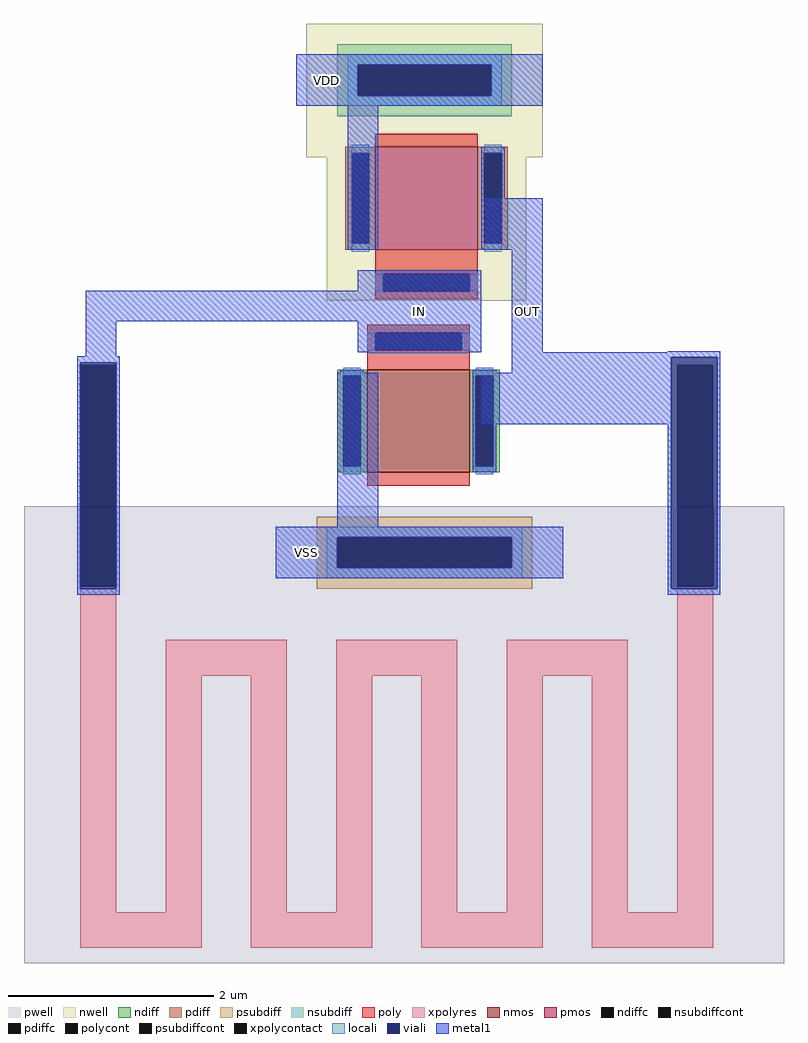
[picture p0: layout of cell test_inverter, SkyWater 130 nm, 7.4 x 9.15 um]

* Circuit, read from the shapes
.subckt test_inverter IN OUT VSS VDD
XM1 OUT IN VSS VSS sky130_fd_pr__nfet_01v8 w=1 l=1
XM2 OUT IN VDD VDD sky130_fd_pr__pfet_01v8 w=1 l=1
XR3 IN OUT VSS sky130_fd_pr__res_xhigh_po w=0.35 l=28.4
.ends

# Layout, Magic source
magic
tech sky130A
magscale 1 2
<< nwell >>
rect -80 -560 380 -380
rect -80 -580 -20 -560
rect 320 -580 380 -560
rect -80 -640 380 -580
<< pwell >>
rect -630 -2210 850 -1320
<< psubdiff >>
rect -60 -1380 360 -1340
rect -60 -1440 -20 -1380
rect 320 -1440 360 -1380
rect -60 -1480 360 -1440
<< nsubdiff >>
rect -20 -460 320 -420
rect -20 -520 20 -460
rect 280 -520 320 -460
rect -20 -560 320 -520
<< psubdiffcont >>
rect -20 -1440 320 -1380
<< nsubdiffcont >>
rect 20 -520 280 -460
<< locali >>
rect 0 -460 300 -440
rect 0 -520 20 -460
rect 280 -520 300 -460
rect 0 -540 300 -520
rect -40 -1380 340 -1360
rect -40 -1440 -20 -1380
rect 320 -1440 340 -1380
rect -40 -1460 340 -1440
<< viali >>
rect 20 -520 280 -460
rect -520 -1480 -450 -1040
rect -20 -1440 320 -1380
rect 630 -1480 720 -1030
<< metal1 >>
rect -100 -460 380 -440
rect -100 -520 20 -460
rect 280 -520 380 -460
rect -100 -540 380 -520
rect 0 -820 60 -540
rect 260 -820 380 -720
rect 20 -900 260 -860
rect -510 -960 260 -900
rect -510 -1028 -450 -960
rect 20 -1020 260 -960
rect 320 -1020 380 -820
rect 624 -1020 726 -1018
rect -526 -1040 -444 -1028
rect -526 -1480 -520 -1040
rect -450 -1480 -444 -1040
rect 320 -1030 726 -1020
rect 320 -1060 630 -1030
rect -20 -1360 60 -1060
rect 260 -1160 630 -1060
rect -140 -1380 420 -1360
rect -140 -1440 -20 -1380
rect 320 -1440 420 -1380
rect -140 -1460 420 -1440
rect -526 -1492 -444 -1480
rect 624 -1480 630 -1160
rect 720 -1480 726 -1030
rect 624 -1492 726 -1480
use sky130_fd_pr__nfet_01v8_QFRGQ5  sky130_fd_pr__nfet_01v8_QFRGQ5_0
transform 1 0 138 0 1 -1123
box -158 -157 158 157
use sky130_fd_pr__pfet_01v8_M2ZTWU  sky130_fd_pr__pfet_01v8_M2ZTWU_0
transform 1 0 154 0 1 -756
box -194 -164 194 198
use sky130_fd_pr__res_xhigh_po_0p35_MC8RW6  sky130_fd_pr__res_xhigh_po_0p35_MC8RW6_0
transform -1 0 96 0 -1 -1612
box -616 -568 616 568
<< labels >>
flabel metal1 -140 -1460 -20 -1360 0 FreeSans 160 0 0 0 VSS
port 3 nsew
flabel metal1 320 -1160 380 -720 0 FreeSans 160 0 0 0 OUT
port 2 nsew
flabel metal1 -100 -540 20 -440 0 FreeSans 160 0 0 0 VDD
port 4 nsew
flabel metal1 20 -1020 260 -860 0 FreeSans 160 0 0 0 IN
port 1 nsew
<< end >>

# cell sky130_fd_pr__nfet_01v8_QFRGQ5: kit device sky130_fd_pr__nfet_01v8, w 1 l 1 m 1 nf 1 diffcov 100 polycov 100 guard 0 glc 0 grc 0 gtc 0 gbc 0 tbcov 100 rlcov 100 topc 1 botc 0 poverlap 0 doverlap 0 lmin 0.15 wmin 0.42 compatible {sky130_fd_pr__nfet_01v8 sky130_fd_pr__nfet_01v8_lvt sky130_fd_bs_flash__special_sonosfet_star sky130_fd_pr__nfet_g5v0d10v5 sky130_fd_pr__nfet_05v0_nvt sky130_fd_pr__nfet_03v3_nvt} full_metal 0 viasrc 100 viadrn 100 viagate 100 viagb 0 viagr 0 viagl 0 viagt 0

# cell sky130_fd_pr__pfet_01v8_M2ZTWU: kit device sky130_fd_pr__pfet_01v8, w 1 l 1 m 1 nf 1 diffcov 100 polycov 100 guard 0 glc 0 grc 0 gtc 0 gbc 0 tbcov 100 rlcov 100 topc 0 botc 1 poverlap 0 doverlap 0 lmin 0.15 wmin 0.42 compatible {sky130_fd_pr__pfet_01v8 sky130_fd_pr__pfet_01v8_lvt sky130_fd_pr__pfet_01v8_hvt sky130_fd_pr__pfet_g5v0d10v5} full_metal 0 viasrc 100 viadrn 100 viagate 100 viagb 0 viagr 0 viagl 0 viagt 0

# cell sky130_fd_pr__res_xhigh_po_0p35_MC8RW6: kit device sky130_fd_pr__res_xhigh_po_0p35, w 0.35 l 3.0 m 1 nx 8 wmin 0.350 lmin 0.50 rho 2000 val 152.218k dummy 0 dw 0.0 term 188.2 sterm 0.0 caplen 0 wmax 0.350 guard 0 glc 0 grc 0 gtc 0 gbc 0 compatible {sky130_fd_pr__res_xhigh_po_0p35 sky130_fd_pr__res_xhigh_po_0p69 sky130_fd_pr__res_xhigh_po_1p41 sky130_fd_pr__res_xhigh_po_2p85 sky130_fd_pr__res_xhigh_po_5p73} snake 1 full_metal 0 n_guard 0 hv_guard 0 vias 1 viagb 0 viagt 0 viagl 0 viagr 0
